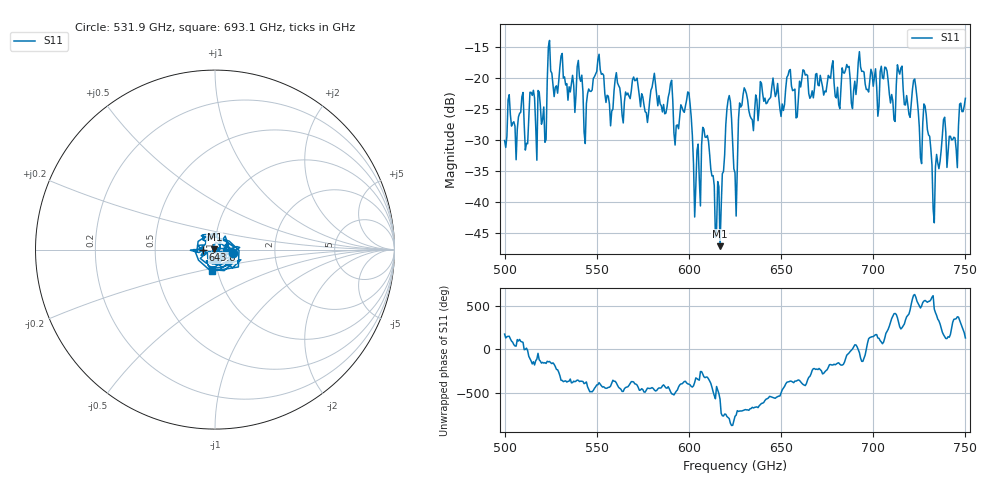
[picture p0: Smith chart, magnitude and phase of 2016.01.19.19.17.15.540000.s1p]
!Created with skrf (http://scikit-rf.org).
# GHz S RI R 50.0
!freq ReS11 ImS11
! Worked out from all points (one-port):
!   401 points, 500 GHz to 750 GHz, reference 50 ohm
!   lowest |S11| = -47.1 dB at 616.9 GHz (marker M1), VSWR 1.01, Z = 49.6 + j0.225 ohm
!   |S11| at or under -10 dB: start of sweep to end of sweep
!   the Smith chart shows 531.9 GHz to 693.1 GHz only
!   S11 on the Smith chart (normalised r, x): 531.9 GHz: 1.22, -0.04; 643.8 GHz: 0.87, -0.00; 693.1 GHz: 0.94, -0.23
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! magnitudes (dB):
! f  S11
! 500 GHz  -30.1
! 511.9 GHz  -30.5
! 515 GHz  -22.8
! 521.2 GHz  -24.7
! 524.4 GHz  -14.0
! 531.2 GHz  -16.1
! 531.9 GHz  -20.1
! 543.8 GHz  -30.6
! 550.6 GHz  -17.0
! 562.5 GHz  -21.6
! 590 GHz  -20.9
! 593.8 GHz  -27.6
! 599.4 GHz  -22.3
! 603.1 GHz  -42.4
! 608.8 GHz  -29.5
! 616.9 GHz  -47.1
! 621.2 GHz  -23.6
! 625 GHz  -35.3
! 630 GHz  -21.6
! 643.8 GHz  -23.4
! 656.2 GHz  -22.1
! 687.5 GHz  -20.2
! 693.1 GHz  -18.3
! 714.4 GHz  -19.4
! 718.8 GHz  -24.3
! 728.8 GHz  -25.9
! 733.1 GHz  -43.3
! 750 GHz  -23.3
